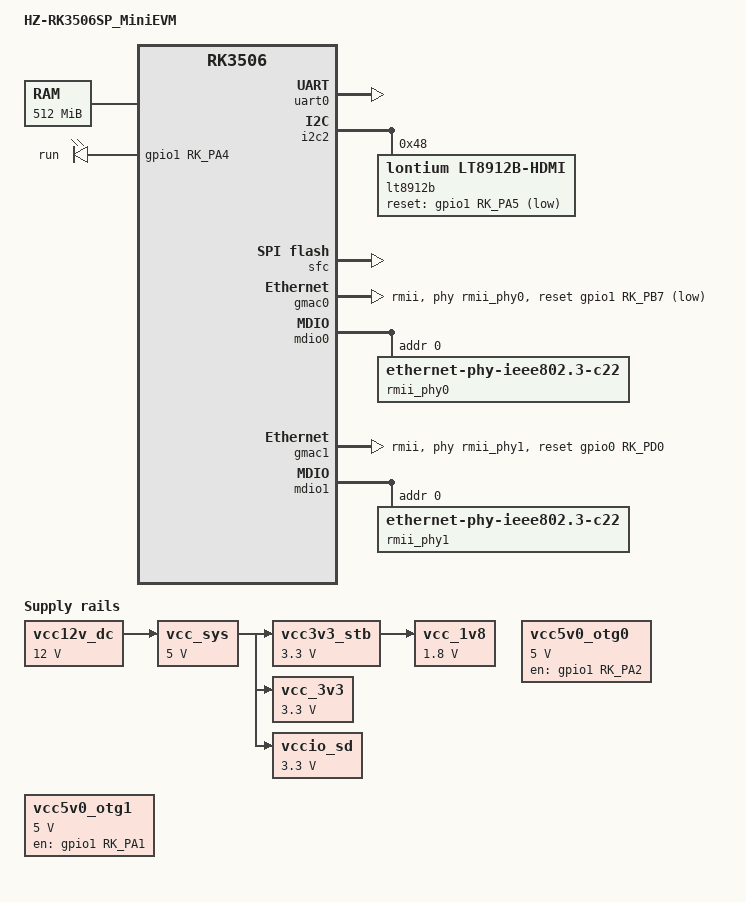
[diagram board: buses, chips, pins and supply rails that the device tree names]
// SPDX-License-Identifier: (GPL-2.0+ OR MIT)
/*
 * Copyright (c) 2025 HZHY Electronics Co., Ltd.
 *
 * HZ-RK3506SP MiniEVM common device tree include.
 * Ported from HZHY kernel-6.1 SDK to mainline Linux 7.1 / OpenWrt.
 */

#include "rk3506.dtsi"

/ {
	model = "HZ-RK3506SP_MiniEVM";
	compatible = "rockchip,rk3506-evb1-v10", "rockchip,rk3506";

	/* The vendor OP-TEE/secure monitor does not implement the PSCI 1.0
	 * SMC interface advertised by the initial rk3506.dtsi. Linux probes
	 * PSCI_VERSION (SMC 0x84000000) during setup_arch() and never returns.
	 * Boot as a single-core system until a matching secure firmware or a
	 * native RK3506 SMP enable method is available. */
	/delete-node/ psci;

	aliases {
		serial0 = &uart0;
		serial1 = &uart1;
		serial2 = &uart2;
		serial3 = &uart3;
		ethernet0 = &gmac0;
		ethernet1 = &gmac1;
		i2c0 = &i2c0;
		i2c2 = &i2c2;
	};

	chosen {
		stdout-path = &uart0;
	};

	memory@0 {
		device_type = "memory";
		reg = <0x0 0x20000000>;
	};

	reserved-memory {
		#address-cells = <1>;
		#size-cells = <1>;
		ranges;

		/* OP-TEE / trust resident memory.
		 * The SPL/loader pins OP-TEE in low DRAM [0x0, ~0x62000).
		 * Without this carve-out the kernel adds those pages to the
		 * free pool and hands them to user space; the secure world
		 * then rejects the access as a precise external abort.
		 * Mirrors the vendor rk3506 DT's trust@0 reservation. */
		trust@0 {
			/* OP-TEE reports 0x62000 bytes, but the secure DRAM firewall may
			 * protect low memory at a coarser granularity.  Keep Linux and the
			 * zImage output above the first 2 MiB. */
			reg = <0x0 0x200000>;
		};
	};

	vcc12v_dc: vcc12v-dc {
		compatible = "regulator-fixed";
		regulator-name = "vcc12v_dc";
		regulator-always-on;
		regulator-boot-on;
		regulator-min-microvolt = <12000000>;
		regulator-max-microvolt = <12000000>;
	};

	vcc_sys: vcc-sys {
		compatible = "regulator-fixed";
		regulator-name = "vcc_sys";
		regulator-always-on;
		regulator-boot-on;
		regulator-min-microvolt = <5000000>;
		regulator-max-microvolt = <5000000>;
		vin-supply = <&vcc12v_dc>;
	};

	vcc3v3_stb: vcc3v3-stb {
		compatible = "regulator-fixed";
		regulator-name = "vcc3v3_stb";
		regulator-always-on;
		regulator-boot-on;
		regulator-min-microvolt = <3300000>;
		regulator-max-microvolt = <3300000>;
		vin-supply = <&vcc_sys>;
	};

	vcc_1v8: vcc-1v8 {
		compatible = "regulator-fixed";
		regulator-name = "vcc_1v8";
		regulator-always-on;
		regulator-boot-on;
		regulator-min-microvolt = <1800000>;
		regulator-max-microvolt = <1800000>;
		vin-supply = <&vcc3v3_stb>;
	};

	vcc_3v3: vcc-3v3 {
		compatible = "regulator-fixed";
		regulator-name = "vcc_3v3";
		regulator-always-on;
		regulator-boot-on;
		regulator-min-microvolt = <3300000>;
		regulator-max-microvolt = <3300000>;
		vin-supply = <&vcc_sys>;
	};

	vccio_sd: vccio-sd-regulator {
		compatible = "regulator-fixed";
		regulator-name = "vccio_sd";
		regulator-always-on;
		regulator-boot-on;
		regulator-min-microvolt = <3300000>;
		regulator-max-microvolt = <3300000>;
		vin-supply = <&vcc_sys>;
	};

	vcc5v0_otg0: vcc5v0-otg0-regulator {
		compatible = "regulator-fixed";
		regulator-name = "vcc5v0_otg0";
		regulator-min-microvolt = <5000000>;
		regulator-max-microvolt = <5000000>;
		enable-active-high;
		gpio = <&gpio1 RK_PA2 GPIO_ACTIVE_HIGH>;
		pinctrl-names = "default";
		pinctrl-0 = <&vcc5v0_otg0_en>;
	};

	vcc5v0_otg1: vcc5v0-otg1-regulator {
		compatible = "regulator-fixed";
		regulator-name = "vcc5v0_otg1";
		regulator-boot-on;
		regulator-always-on;
		regulator-min-microvolt = <5000000>;
		regulator-max-microvolt = <5000000>;
		enable-active-high;
		gpio = <&gpio1 RK_PA1 GPIO_ACTIVE_HIGH>;
		pinctrl-names = "default";
		pinctrl-0 = <&vcc5v0_otg1_en>;
	};

	leds: leds {
		compatible = "gpio-leds";
		status = "okay";
		run_led: run-led {
			label = "run";
			gpios = <&gpio1 RK_PA4 GPIO_ACTIVE_HIGH>;
			linux,default-trigger = "heartbeat";
			default-state = "on";
		};
	};

};

/* CPU operating points (OPP).
 * Without an OPP table the cpufreq-dt driver has no valid frequency
 * targets; ondemand may attempt to scale the PVTPLL to an undefined
 * rate and hang the system.  These are conservative, clk-only points.
 * If a PMIC-based cpu-supply is added later, append voltage columns. */
&cpu0 {
	/delete-property/ enable-method;
	operating-points = <
		1200000	0	/* 1.2 GHz (stock boot speed) */
		1008000	0	/* 1.008 GHz */
		816000	0	/* 816 MHz */
		600000	0	/* 600 MHz */
		408000	0	/* 408 MHz */
	>;
};

&cpu1 {
	/delete-property/ enable-method;
	status = "disabled";
};

&cpu2 {
	/delete-property/ enable-method;
	status = "disabled";
};

&uart0 {
	status = "okay";
};

&uart1 {
	status = "disabled";
};

&uart2 {
	status = "disabled";
};

&uart3 {
	status = "disabled";
};

&i2c0 {
	status = "disabled";
};

&i2c2 {
	status = "okay";
	pinctrl-names = "default";
	pinctrl-0 = <&rm_io4_i2c2_scl &rm_io5_i2c2_sda>;

	lt8912b: lt8912b@48 {
		compatible = "lontium,lt8912b-hdmi";
		reg = <0x48>;
		reset-gpios = <&gpio1 RK_PA5 GPIO_ACTIVE_LOW>;
		status = "okay";
	};
};

&sai1 {
	status = "disabled";
};

&spi0 {
	status = "disabled";
	num-cs = <2>;
	pinctrl-names = "default";
	pinctrl-0 = <&rm_io14_spi0_clk &rm_io13_spi0_csn0 &rm_io15_spi0_csn1 &rm_io17_spi0_mosi &rm_io16_spi0_miso>;
	flash@0 {
		compatible = "winbond,w25q20cl", "jedec,spi-nor";
		reg = <0>;
		spi-max-frequency = <50000000>;
	};
	flash@1 {
		compatible = "winbond,w25q20cl", "jedec,spi-nor";
		reg = <1>;
		spi-max-frequency = <50000000>;
	};
};

&sfc {
	status = "okay";
};

&usb2phy {
	status = "disabled";
};

&u2phy_otg0 {
	status = "disabled";
};

&u2phy_otg1 {
	status = "disabled";
};

&usb20_otg0 {
	status = "disabled";
};

&usb20_otg1 {
	status = "disabled";
};

&gmac0 {
	phy-mode = "rmii";
	clock_in_out = "input";
	snps,reset-gpio = <&gpio1 RK_PB7 GPIO_ACTIVE_LOW>;
	snps,reset-active-low;
	snps,reset-delays-us = <20000 20000 20000>;
	pinctrl-names = "default";
	pinctrl-0 = <&eth_rmii0_miim_pins &eth_rmii0_tx_bus2_pins &eth_rmii0_rx_bus2_pins &eth_rmii0_clk_pins>;
	phy-handle = <&rmii_phy0>;
	status = "okay";
};

&mdio0 {
	/delete-node/ phy@1;
	rmii_phy0: phy@0 {
		compatible = "ethernet-phy-ieee802.3-c22";
		reg = <0x0>;
	};
};

&gmac1 {
	phy-mode = "rmii";
	clock_in_out = "input";
	snps,reset-gpio = <&gpio0 RK_PD0 GPIO_ACTIVE_HIGH>;
	snps,reset-active-high;
	snps,reset-delays-us = <20000 20000 20000>;
	pinctrl-names = "default";
	pinctrl-0 = <&eth_rmii1_miim_pins &eth_rmii1_tx_bus2_pins &eth_rmii1_rx_bus2_pins &eth_rmii1_clk_pins>;
	phy-handle = <&rmii_phy1>;
	status = "okay";
};

&mdio1 {
	rmii_phy1: phy@0 {
		compatible = "ethernet-phy-ieee802.3-c22";
		reg = <0x0>;
	};
};

&pinctrl {
	headphone {
		hp_det: hp-det {
			rockchip,pins = <1 RK_PA6 RK_FUNC_GPIO &pcfg_pull_none>;
		};
	};
	usb {
		vcc5v0_otg0_en: vcc5v0-otg0-en {
			rockchip,pins = <1 RK_PA2 RK_FUNC_GPIO &pcfg_pull_none>;
		};
		vcc5v0_otg1_en: vcc5v0-otg1-en {
			rockchip,pins = <1 RK_PA1 RK_FUNC_GPIO &pcfg_pull_none>;
		};
	};
};
